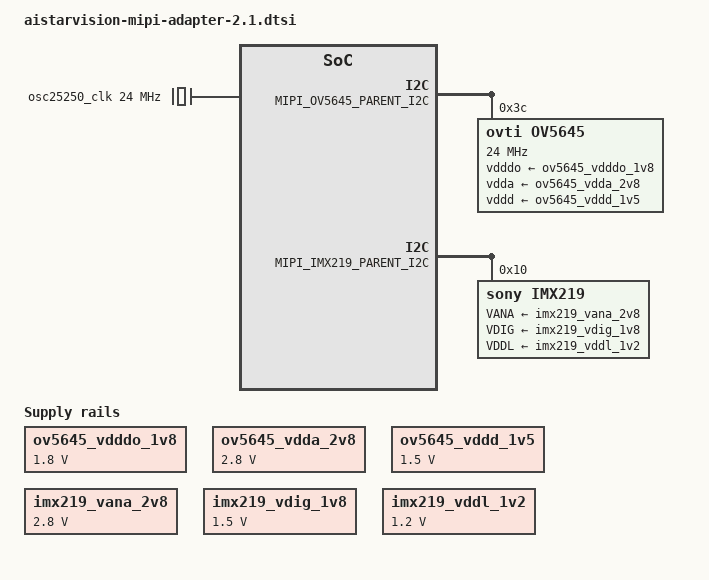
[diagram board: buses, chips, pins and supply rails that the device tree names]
// SPDX-License-Identifier: GPL-2.0
/*
 * Device Tree Source for the AISTARVISION MIPI Adapter V2.1
 *
 * Copyright (C) 2020 Renesas Electronics Corp.
 */

/ {
	ov5645_vdddo_1v8: 1p8v {
		compatible = "regulator-fixed";
		regulator-name = "camera_vdddo";
		regulator-min-microvolt = <1800000>;
		regulator-max-microvolt = <1800000>;
		regulator-always-on;
	};

	ov5645_vdda_2v8: 2p8v {
		compatible = "regulator-fixed";
		regulator-name = "camera_vdda";
		regulator-min-microvolt = <2800000>;
		regulator-max-microvolt = <2800000>;
		regulator-always-on;
	};

	ov5645_vddd_1v5: 1p5v {
		compatible = "regulator-fixed";
		regulator-name = "camera_vddd";
		regulator-min-microvolt = <1500000>;
		regulator-max-microvolt = <1500000>;
		regulator-always-on;
	};

	imx219_vana_2v8: 2p8v {
		compatible = "regulator-fixed";
		regulator-name = "camera_vana";
		regulator-min-microvolt = <2800000>;
		regulator-max-microvolt = <2800000>;
		regulator-always-on;
	};

	imx219_vdig_1v8: 1p8v {
		compatible = "regulator-fixed";
		regulator-name = "camera_vdig";
		regulator-min-microvolt = <1500000>;
		regulator-max-microvolt = <1500000>;
		regulator-always-on;
	};

	imx219_vddl_1v2: 1p2v {
		compatible = "regulator-fixed";
		regulator-name = "camera_vddl";
		regulator-min-microvolt = <1200000>;
		regulator-max-microvolt = <1200000>;
		regulator-always-on;
	};

	osc25250_clk: osc25250_clk {
		compatible = "fixed-clock";
		#clock-cells = <0>;
		clock-frequency = <24000000>;
	};
};

&MIPI_OV5645_PARENT_I2C {
	ov5645: ov5645@3c {
		compatible = "ovti,ov5645";
		reg = <0x3c>;
		clock-names = "xclk";
		clocks = <&osc25250_clk>;
		clock-frequency = <24000000>;
		vdddo-supply = <&ov5645_vdddo_1v8>;
		vdda-supply = <&ov5645_vdda_2v8>;
		vddd-supply = <&ov5645_vddd_1v5>;

		port {
			ov5645_ep: endpoint {
			};
		};
	};
};

&MIPI_IMX219_PARENT_I2C {
	imx219: imx219@10 {
		compatible = "sony,imx219";
		reg = <0x10>;
		clocks = <&osc25250_clk>;
		VANA-supply = <&imx219_vana_2v8>;
		VDIG-supply = <&imx219_vdig_1v8>;
		VDDL-supply = <&imx219_vddl_1v2>;

		port {
			imx219_ep: endpoint {
			};
		};
	};
};
